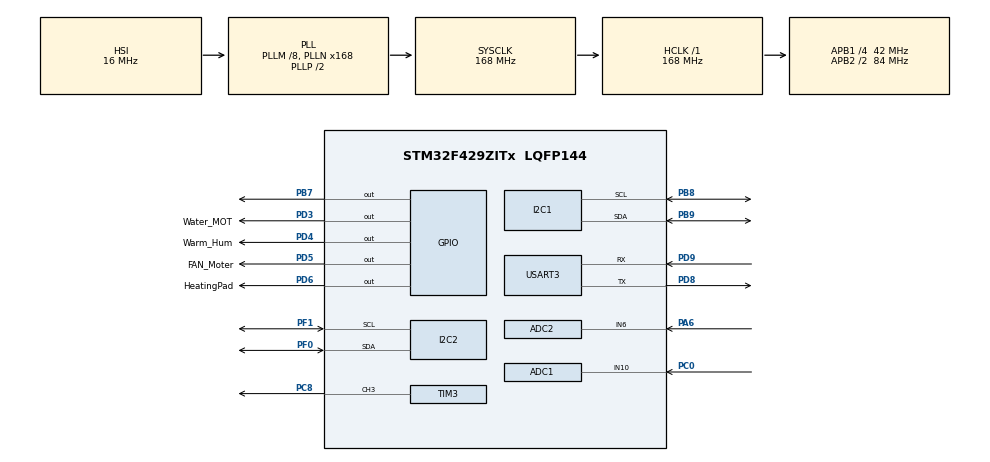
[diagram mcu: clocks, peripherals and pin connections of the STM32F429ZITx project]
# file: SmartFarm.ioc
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ADC1.Channel-0\#ChannelRegularConversion=ADC_CHANNEL_10
ADC1.NbrOfConversionFlag=1
ADC1.Rank-0\#ChannelRegularConversion=1
ADC1.SamplingTime-0\#ChannelRegularConversion=ADC_SAMPLETIME_3CYCLES
ADC1.master=1
ADC2.Channel-0\#ChannelRegularConversion=ADC_CHANNEL_6
ADC2.NbrOfConversionFlag=1
ADC2.Rank-0\#ChannelRegularConversion=1
ADC2.SamplingTime-0\#ChannelRegularConversion=ADC_SAMPLETIME_3CYCLES
Mcu.Family=STM32F4
Mcu.Name=STM32F429ZITx
Mcu.Package=LQFP144
NVIC.PriorityGroup=NVIC_PRIORITYGROUP_4
NVIC.USART3_IRQn=true\:0\:0\:false\:false\:true\:true\:true\:true
PA6.Signal=ADCx_IN6
PB7.GPIO_PuPd=GPIO_PULLDOWN
PB7.GPIO_Speed=GPIO_SPEED_FREQ_MEDIUM
PB7.Signal=GPIO_Output
PB8.Mode=I2C
PB8.Signal=I2C1_SCL
PB9.Mode=I2C
PB9.Signal=I2C1_SDA
PC0.Signal=ADCx_IN10
PC8.Signal=S_TIM3_CH3
PD3.GPIO_Label=Water_MOT
PD3.Signal=GPIO_Output
PD4.GPIO_Label=Warm_Hum
PD4.GPIO_PuPd=GPIO_NOPULL
PD4.GPIO_Speed=GPIO_SPEED_FREQ_HIGH
PD4.PinState=GPIO_PIN_RESET
PD4.Signal=GPIO_Output
PD5.GPIO_Label=FAN_Moter
PD5.Signal=GPIO_Output
PD6.GPIO_Label=HeatingPad
PD6.Signal=GPIO_Output
PD8.Mode=Asynchronous
PD8.Signal=USART3_TX
PD9.Mode=Asynchronous
PD9.Signal=USART3_RX
PF0.Mode=I2C
PF0.Signal=I2C2_SDA
PF1.Mode=I2C
PF1.Signal=I2C2_SCL
ProjectManager.HeapSize=0x200
ProjectManager.StackSize=0x400
ProjectManager.TargetToolchain=STM32CubeIDE
RCC.48MHZClocksFreq_Value=84000000
RCC.AHBFreq_Value=168000000
RCC.APB1CLKDivider=RCC_HCLK_DIV4
RCC.APB1Freq_Value=42000000
RCC.APB1TimFreq_Value=84000000
RCC.APB2CLKDivider=RCC_HCLK_DIV2
RCC.APB2Freq_Value=84000000
RCC.APB2TimFreq_Value=168000000
RCC.CortexFreq_Value=168000000
RCC.HCLKFreq_Value=168000000
RCC.HSE_VALUE=25000000
RCC.HSI_VALUE=16000000
RCC.LSE_VALUE=32768
RCC.PLLM=8
RCC.PLLN=168
RCC.SYSCLKFreq_VALUE=168000000
RCC.SYSCLKSource=RCC_SYSCLKSOURCE_PLLCLK
RCC.VCOOutputFreq_Value=336000000
SH.ADCx_IN10.0=ADC1_IN10,IN10
SH.ADCx_IN6.0=ADC1_IN6
SH.ADCx_IN6.1=ADC2_IN6,IN6
SH.S_TIM3_CH3.0=TIM3_CH3,PWM Generation3 CH3
TIM3.Channel-PWM\ Generation3\ CH3=TIM_CHANNEL_3
TIM3.Period=65535
TIM3.Prescaler=84-1
USART3.VirtualMode=VM_ASYNC
VP_TIM3_VS_ClockSourceINT.Mode=Internal
board=custom

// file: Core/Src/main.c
/* USER CODE BEGIN Header */
/**
  ******************************************************************************
  * @file           : main.c
  * @brief          : 릴레이 모듈 LED 테스트 프로그램
  ******************************************************************************
  */
/* USER CODE END Header */
#include "main.h"

/* USER CODE BEGIN Includes */
#include "warm_hum.h"
#include "temp_control.h"
#include <stdarg.h>
#include <stdio.h>
#include <stdarg.h>
#include "soil_hum.h"
#include "uart_it_motor.h"
#include "bright.h"

#define printf Uart3_Printf

/* USER CODE END Includes */

/* USER CODE BEGIN PD */
// 시간 간격 offset : 0.01초
#define TEMP_CONTROL_PERIOD 	30
#define BRIGHT_CONTROL_PERIOD	50
#define SOIL_MOISTURE_PERIOD	50
#define DISPLAY_PERIOD			100

/* USER CODE END PD */

ADC_HandleTypeDef hadc1;
ADC_HandleTypeDef hadc2;

I2C_HandleTypeDef hi2c1;
I2C_HandleTypeDef hi2c2;

TIM_HandleTypeDef htim3;

UART_HandleTypeDef huart3;

extern volatile uint8_t servo_flag;

/* USER CODE BEGIN PV */
uint8_t msg[200];
/* USER CODE END PV */

void SystemClock_Config(void);
static void MX_GPIO_Init(void);
static void MX_ADC1_Init(void);
static void MX_TIM3_Init(void);
static void MX_USART3_UART_Init(void);
static void MX_I2C2_Init(void);
static void MX_ADC2_Init(void);
static void MX_I2C1_Init(void);

/* USER CODE BEGIN 0 */
#include <string.h>
#include <i2c_lcd.h>
void Uart3_Send_Byte(char ch){
	//	TDR이 비었는 경우에 쓰기 가능 (TXE == 1 대기)
	if(ch=='\n'){
		while((USART3->SR>>7 & 0x1)==0);
		USART3->DR = '\r';	// TDR <- c
	}
	while((USART3->SR>>7 & 0x1)==0);
	USART3->DR = ch;		// TDR <- c
}

#include "display.h"
void Uart3_Send_String(char* str){
	while(*str){
		Uart3_Send_Byte(*str++);
	}
}
void Uart3_Printf(char *fmt,...)
{
	va_list ap;
	char string[256];

	va_start(ap,fmt);
	vsprintf(string,fmt,ap);
	va_end(ap);
	Uart3_Send_String(string);
}
/* USER CODE END 0 */

int main(void)
{

  /* USER CODE BEGIN 1 */
  uint8_t read_result;
  uint32_t time_counter;
  /* USER CODE END 1 */

  /* MCU Configuration--------------------------------------------------------*/

  /* Reset of all peripherals, Initializes the Flash interface and the Systick. */
  HAL_Init();

  /* Configure the system clock */
  SystemClock_Config();

  /* Initialize all configured peripherals */
  MX_GPIO_Init();
  MX_ADC1_Init();
  MX_TIM3_Init();
  MX_USART3_UART_Init();
  MX_I2C2_Init();
  MX_ADC2_Init();
  MX_I2C1_Init();
  /* USER CODE BEGIN 2 */

  // 모듈 초기화
  DHT11_Init();
  TempControl_Init();
  Soil_Init(&hadc2);
  init_display(&hi2c2);
  Soil_Start();
  Motor_Init();

  time_counter = 0;

  /* USER CODE END 2 */

  /* Infinite loop */
  /* USER CODE BEGIN WHILE */

  while (1)
  {
	  if(time_counter % DISPLAY_PERIOD == 0) {
		  DP_show_next_page();
	  }

	  if(time_counter % TEMP_CONTROL_PERIOD == 0) {
		  TempControl_ReadAndUpdate();
	  }

      // 조도 LED 제어
	  if(time_counter % BRIGHT_CONTROL_PERIOD == 0) {
		  Bright_Control();
	  }

      // 토양 습도 측정값에 따른 펌프모터 액션
	  if(time_counter % SOIL_MOISTURE_PERIOD == 0) {
		  Soil_Moisture_Action();
	  }

	  time_counter++;
	  HAL_Delay(10);

    /* USER CODE END WHILE */

  }
}

void SystemClock_Config(void)
{
  RCC_OscInitTypeDef RCC_OscInitStruct = {0};
  RCC_ClkInitTypeDef RCC_ClkInitStruct = {0};

  /** Configure the main internal regulator output voltage
  */
  __HAL_RCC_PWR_CLK_ENABLE();
  __HAL_PWR_VOLTAGESCALING_CONFIG(PWR_REGULATOR_VOLTAGE_SCALE1);

  /** Initializes the RCC Oscillators according to the specified parameters
  * in the RCC_OscInitTypeDef structure.
  */
  RCC_OscInitStruct.OscillatorType = RCC_OSCILLATORTYPE_HSI;
  RCC_OscInitStruct.HSIState = RCC_HSI_ON;
  RCC_OscInitStruct.HSICalibrationValue = RCC_HSICALIBRATION_DEFAULT;
  RCC_OscInitStruct.PLL.PLLState = RCC_PLL_ON;
  RCC_OscInitStruct.PLL.PLLSource = RCC_PLLSOURCE_HSI;
  RCC_OscInitStruct.PLL.PLLM = 8;
  RCC_OscInitStruct.PLL.PLLN = 168;
  RCC_OscInitStruct.PLL.PLLP = RCC_PLLP_DIV2;
  RCC_OscInitStruct.PLL.PLLQ = 4;
  if (HAL_RCC_OscConfig(&RCC_OscInitStruct) != HAL_OK)
  {
    Error_Handler();
  }

  /** Initializes the CPU, AHB and APB buses clocks
  */
  RCC_ClkInitStruct.ClockType = RCC_CLOCKTYPE_HCLK|RCC_CLOCKTYPE_SYSCLK
                              |RCC_CLOCKTYPE_PCLK1|RCC_CLOCKTYPE_PCLK2;
  RCC_ClkInitStruct.SYSCLKSource = RCC_SYSCLKSOURCE_PLLCLK;
  RCC_ClkInitStruct.AHBCLKDivider = RCC_SYSCLK_DIV1;
  RCC_ClkInitStruct.APB1CLKDivider = RCC_HCLK_DIV4;
  RCC_ClkInitStruct.APB2CLKDivider = RCC_HCLK_DIV2;

  if (HAL_RCC_ClockConfig(&RCC_ClkInitStruct, FLASH_LATENCY_5) != HAL_OK)
  {
    Error_Handler();
  }
}

static void MX_ADC1_Init(void)
{

  ADC_ChannelConfTypeDef sConfig = {0};

  /** Configure the global features of the ADC (Clock, Resolution, Data Alignment and number of conversion)
  */
  hadc1.Instance = ADC1;
  hadc1.Init.ClockPrescaler = ADC_CLOCK_SYNC_PCLK_DIV4;
  hadc1.Init.Resolution = ADC_RESOLUTION_12B;
  hadc1.Init.ScanConvMode = DISABLE;
  hadc1.Init.ContinuousConvMode = DISABLE;
  hadc1.Init.DiscontinuousConvMode = DISABLE;
  hadc1.Init.ExternalTrigConvEdge = ADC_EXTERNALTRIGCONVEDGE_NONE;
  hadc1.Init.ExternalTrigConv = ADC_SOFTWARE_START;
  hadc1.Init.DataAlign = ADC_DATAALIGN_RIGHT;
  hadc1.Init.NbrOfConversion = 1;
  hadc1.Init.DMAContinuousRequests = DISABLE;
  hadc1.Init.EOCSelection = ADC_EOC_SINGLE_CONV;
  if (HAL_ADC_Init(&hadc1) != HAL_OK)
  {
    Error_Handler();
  }

  /** Configure for the selected ADC regular channel its corresponding rank in the sequencer and its sample time.
  */
  sConfig.Channel = ADC_CHANNEL_10;
  sConfig.Rank = 1;
  sConfig.SamplingTime = ADC_SAMPLETIME_3CYCLES;
  if (HAL_ADC_ConfigChannel(&hadc1, &sConfig) != HAL_OK)
  {
    Error_Handler();
  }

}

static void MX_ADC2_Init(void)
{

  ADC_ChannelConfTypeDef sConfig = {0};

  /** Configure the global features of the ADC (Clock, Resolution, Data Alignment and number of conversion)
  */
  hadc2.Instance = ADC2;
  hadc2.Init.ClockPrescaler = ADC_CLOCK_SYNC_PCLK_DIV4;
  hadc2.Init.Resolution = ADC_RESOLUTION_12B;
  hadc2.Init.ScanConvMode = DISABLE;
  hadc2.Init.ContinuousConvMode = DISABLE;
  hadc2.Init.DiscontinuousConvMode = DISABLE;
  hadc2.Init.ExternalTrigConvEdge = ADC_EXTERNALTRIGCONVEDGE_NONE;
  hadc2.Init.ExternalTrigConv = ADC_SOFTWARE_START;
  hadc2.Init.DataAlign = ADC_DATAALIGN_RIGHT;
  hadc2.Init.NbrOfConversion = 1;
  hadc2.Init.DMAContinuousRequests = DISABLE;
  hadc2.Init.EOCSelection = ADC_EOC_SINGLE_CONV;
  if (HAL_ADC_Init(&hadc2) != HAL_OK)
  {
    Error_Handler();
  }

  /** Configure for the selected ADC regular channel its corresponding rank in the sequencer and its sample time.
  */
  sConfig.Channel = ADC_CHANNEL_6;
  sConfig.Rank = 1;
  sConfig.SamplingTime = ADC_SAMPLETIME_3CYCLES;
  if (HAL_ADC_ConfigChannel(&hadc2, &sConfig) != HAL_OK)
  {
    Error_Handler();
  }

}

static void MX_I2C1_Init(void)
{

  hi2c1.Instance = I2C1;
  hi2c1.Init.ClockSpeed = 100000;
  hi2c1.Init.DutyCycle = I2C_DUTYCYCLE_2;
  hi2c1.Init.OwnAddress1 = 0;
  hi2c1.Init.AddressingMode = I2C_ADDRESSINGMODE_7BIT;
  hi2c1.Init.DualAddressMode = I2C_DUALADDRESS_DISABLE;
  hi2c1.Init.OwnAddress2 = 0;
  hi2c1.Init.GeneralCallMode = I2C_GENERALCALL_DISABLE;
  hi2c1.Init.NoStretchMode = I2C_NOSTRETCH_DISABLE;
  if (HAL_I2C_Init(&hi2c1) != HAL_OK)
  {
    Error_Handler();
  }

  /** Configure Analogue filter
  */
  if (HAL_I2CEx_ConfigAnalogFilter(&hi2c1, I2C_ANALOGFILTER_ENABLE) != HAL_OK)
  {
    Error_Handler();
  }

  /** Configure Digital filter
  */
  if (HAL_I2CEx_ConfigDigitalFilter(&hi2c1, 0) != HAL_OK)
  {
    Error_Handler();
  }

}

static void MX_I2C2_Init(void)
{

  hi2c2.Instance = I2C2;
  hi2c2.Init.ClockSpeed = 100000;
  hi2c2.Init.DutyCycle = I2C_DUTYCYCLE_2;
  hi2c2.Init.OwnAddress1 = 0;
  hi2c2.Init.AddressingMode = I2C_ADDRESSINGMODE_7BIT;
  hi2c2.Init.DualAddressMode = I2C_DUALADDRESS_DISABLE;
  hi2c2.Init.OwnAddress2 = 0;
  hi2c2.Init.GeneralCallMode = I2C_GENERALCALL_DISABLE;
  hi2c2.Init.NoStretchMode = I2C_NOSTRETCH_DISABLE;
  if (HAL_I2C_Init(&hi2c2) != HAL_OK)
  {
    Error_Handler();
  }

  /** Configure Analogue filter
  */
  if (HAL_I2CEx_ConfigAnalogFilter(&hi2c2, I2C_ANALOGFILTER_ENABLE) != HAL_OK)
  {
    Error_Handler();
  }

  /** Configure Digital filter
  */
  if (HAL_I2CEx_ConfigDigitalFilter(&hi2c2, 0) != HAL_OK)
  {
    Error_Handler();
  }

}

static void MX_TIM3_Init(void)
{

  TIM_ClockConfigTypeDef sClockSourceConfig = {0};
  TIM_MasterConfigTypeDef sMasterConfig = {0};
  TIM_OC_InitTypeDef sConfigOC = {0};

  htim3.Instance = TIM3;
  htim3.Init.Prescaler = 84-1;
  htim3.Init.CounterMode = TIM_COUNTERMODE_UP;
  htim3.Init.Period = 20000-1;
  htim3.Init.ClockDivision = TIM_CLOCKDIVISION_DIV1;
  htim3.Init.AutoReloadPreload = TIM_AUTORELOAD_PRELOAD_DISABLE;
  if (HAL_TIM_Base_Init(&htim3) != HAL_OK)
  {
    Error_Handler();
  }
  sClockSourceConfig.ClockSource = TIM_CLOCKSOURCE_INTERNAL;
  if (HAL_TIM_ConfigClockSource(&htim3, &sClockSourceConfig) != HAL_OK)
  {
    Error_Handler();
  }
  if (HAL_TIM_PWM_Init(&htim3) != HAL_OK)
  {
    Error_Handler();
  }
  sMasterConfig.MasterOutputTrigger = TIM_TRGO_RESET;
  sMasterConfig.MasterSlaveMode = TIM_MASTERSLAVEMODE_DISABLE;
  if (HAL_TIMEx_MasterConfigSynchronization(&htim3, &sMasterConfig) != HAL_OK)
  {
    Error_Handler();
  }
  sConfigOC.OCMode = TIM_OCMODE_PWM1;
  sConfigOC.Pulse = 0;
  sConfigOC.OCPolarity = TIM_OCPOLARITY_HIGH;
  sConfigOC.OCFastMode = TIM_OCFAST_DISABLE;
  if (HAL_TIM_PWM_ConfigChannel(&htim3, &sConfigOC, TIM_CHANNEL_3) != HAL_OK)
  {
    Error_Handler();
  }
  HAL_TIM_MspPostInit(&htim3);

}

static void MX_USART3_UART_Init(void)
{

  huart3.Instance = USART3;
  huart3.Init.BaudRate = 115200;
  huart3.Init.WordLength = UART_WORDLENGTH_8B;
  huart3.Init.StopBits = UART_STOPBITS_1;
  huart3.Init.Parity = UART_PARITY_NONE;
  huart3.Init.Mode = UART_MODE_TX_RX;
  huart3.Init.HwFlowCtl = UART_HWCONTROL_NONE;
  huart3.Init.OverSampling = UART_OVERSAMPLING_16;
  if (HAL_UART_Init(&huart3) != HAL_OK)
  {
    Error_Handler();
  }

}

static void MX_GPIO_Init(void)
{
  GPIO_InitTypeDef GPIO_InitStruct = {0};

  /* GPIO Ports Clock Enable */
  __HAL_RCC_GPIOF_CLK_ENABLE();
  __HAL_RCC_GPIOC_CLK_ENABLE();
  __HAL_RCC_GPIOA_CLK_ENABLE();
  __HAL_RCC_GPIOD_CLK_ENABLE();
  __HAL_RCC_GPIOB_CLK_ENABLE();

  /*Configure GPIO pin Output Level */
  HAL_GPIO_WritePin(GPIOD, Water_MOT_Pin|Warm_Hum_Pin|FAN_Moter_Pin|HeatingPad_Pin, GPIO_PIN_RESET);

  /*Configure GPIO pin Output Level */
  HAL_GPIO_WritePin(GPIOB, GPIO_PIN_7, GPIO_PIN_RESET);

  /*Configure GPIO pins : Water_MOT_Pin FAN_Moter_Pin HeatingPad_Pin */
  GPIO_InitStruct.Pin = Water_MOT_Pin|FAN_Moter_Pin|HeatingPad_Pin;
  GPIO_InitStruct.Mode = GPIO_MODE_OUTPUT_PP;
  GPIO_InitStruct.Pull = GPIO_NOPULL;
  GPIO_InitStruct.Speed = GPIO_SPEED_FREQ_LOW;
  HAL_GPIO_Init(GPIOD, &GPIO_InitStruct);

  /*Configure GPIO pin : Warm_Hum_Pin */
  GPIO_InitStruct.Pin = Warm_Hum_Pin;
  GPIO_InitStruct.Mode = GPIO_MODE_OUTPUT_PP;
  GPIO_InitStruct.Pull = GPIO_NOPULL;
  GPIO_InitStruct.Speed = GPIO_SPEED_FREQ_HIGH;
  HAL_GPIO_Init(Warm_Hum_GPIO_Port, &GPIO_InitStruct);

  /*Configure GPIO pin : PB7 */
  GPIO_InitStruct.Pin = GPIO_PIN_7;
  GPIO_InitStruct.Mode = GPIO_MODE_OUTPUT_PP;
  GPIO_InitStruct.Pull = GPIO_PULLDOWN;
  GPIO_InitStruct.Speed = GPIO_SPEED_FREQ_MEDIUM;
  HAL_GPIO_Init(GPIOB, &GPIO_InitStruct);

}

void Error_Handler(void)
{
  __disable_irq();
  while (1)
  {
  }
}
